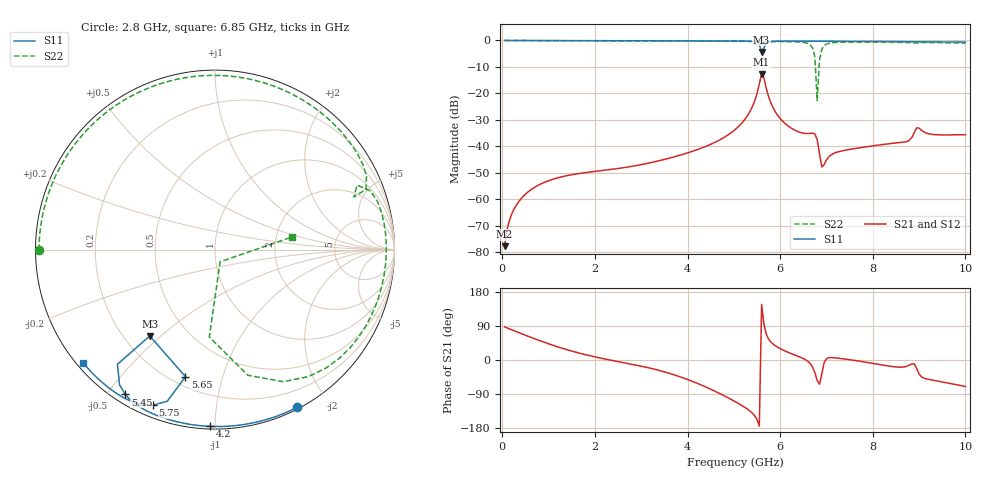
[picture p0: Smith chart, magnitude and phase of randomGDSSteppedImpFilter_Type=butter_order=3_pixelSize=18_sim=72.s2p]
! freq	dB(S11)	phase(S11)	dB(S12)	phase(S12)
!  dB(S21)	phase(S21)	dB(S22)	phase(S22)
!S-par simulation data
#  GHz  S  DB  R 50
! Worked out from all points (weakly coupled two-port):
!   200 points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, 50 MHz to 10 GHz, reference 50 ohm
!   highest |S21| = -12.70 dB at 5.6 GHz (marker M1); lowest = -77.7 dB at 50 MHz (marker M2)
!   lowest |S11| = -4.4 dB at 5.6 GHz (marker M3), VSWR 4.04, Z = 15.2 - j23 ohm
!   |S11| at or under -10 dB: nowhere
!   |S22| runs from -22.7 to 0.0 dB; largest |S21 - S12| = 0
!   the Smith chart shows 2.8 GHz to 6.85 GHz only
!   S11 on the Smith chart (normalised r, x): 2.8 GHz: 0.02, -1.64; 4.2 GHz: 0.01, -0.97; 5.45 GHz: 0.03, -0.56; 5.65 GHz: 0.25, -0.76; 5.75 GHz: 0.05, -0.68; 6.85 GHz: 0.02, -0.37
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0.05  -0.00 -1.2  -77.68 87.2  -77.68 87.2  -0.00 -3.9
0.2  -0.01 -4.6  -65.69 79.9  -65.69 79.9  -0.02 -15.5
0.5  -0.01 -11.6  -58.03 65.2  -58.03 65.2  -0.05 -38.2
1.1  -0.03 -25.2  -52.37 38.6  -52.37 38.6  -0.10 -80.8
1.75  -0.05 -39.8  -50.01 15.4  -50.01 15.4  -0.13 -121.9
2.8  -0.08 -62.6  -47.54 -11.2  -47.54 -11.2  -0.17 -179.8
3.4  -0.10 -75.2  -45.36 -27.9  -45.36 -27.9  -0.20 148.7
4.2  -0.13 -91.5  -41.29 -61.1  -41.29 -61.1  -0.24 105.5
5.05  -0.18 -109.2  -33.31 -111.3  -33.31 -111.3  -0.30 55.9
5.45  -0.45 -121.8  -22.84 -147.1  -22.84 -147.1  -0.44 29.8
5.6  -4.39 -127.1  -12.70 146.7  -12.70 146.7  -1.65 20.8
5.65  -2.77 -103.1  -14.12 94.6  -14.12 94.6  -1.21 24.4
5.75  -0.59 -111.8  -21.24 55.3  -21.24 55.3  -0.50 16.4
6.4  -0.26 -130.6  -34.51 9.1  -34.51 9.1  -0.56 -31.4
6.7  -0.27 -136.6  -35.00 -18.6  -35.00 -18.6  -2.81 -75.4
6.75  -0.28 -137.5  -35.31 -33.5  -35.31 -33.5  -6.24 -93.7
6.8  -0.28 -138.5  -37.44 -54.2  -37.44 -54.2  -22.65 -67.4
6.85  -0.28 -139.4  -42.76 -63.7  -42.76 -63.7  -7.25 9.3
6.95  -0.29 -141.4  -46.89 -6.4  -46.89 -6.4  -1.95 -21.5
7.3  -0.32 -148.0  -41.84 4.1  -41.84 4.1  -0.67 -59.8
8.35  -0.42 -168.2  -39.00 -16.1  -39.00 -16.1  -0.69 -119.7
10  -0.62 157.9  -35.58 -69.9  -35.58 -69.9  -0.98 155.6
